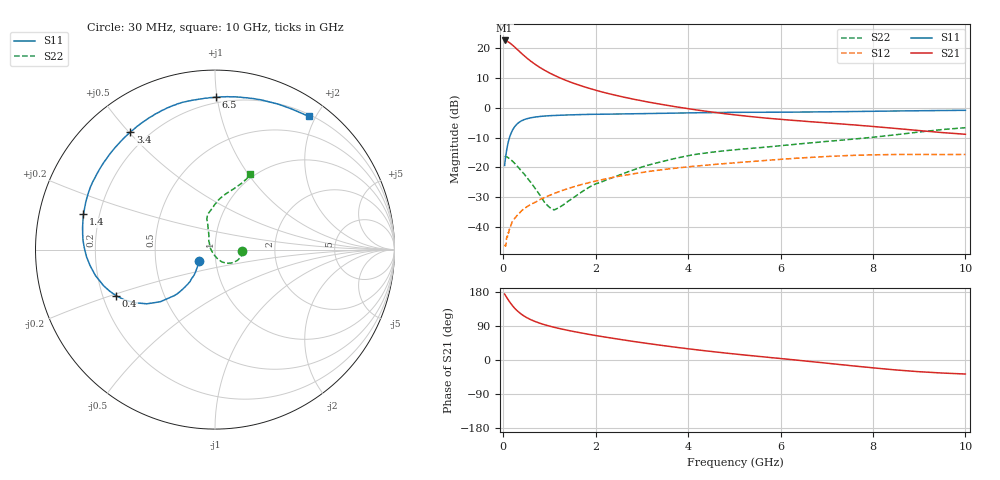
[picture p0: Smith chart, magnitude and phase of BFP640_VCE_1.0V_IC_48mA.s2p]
! Infineon Technologies  Discrete & RF Semiconductors
! BFP640
! VCE =  1.0 V,  IC =  48 mA
! Common Emitter S-Parameters:  Apr 2013
# GHz  S  MA  R  50
!  f  S11  S21  S12  S22
! GHz  MAG  ANG  MAG  ANG  MAG  ANG  MAG  ANG
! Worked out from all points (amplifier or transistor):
!   99 points, 30 MHz to 10 GHz, reference 50 ohm
!   highest |S21| = 22.6 dB at 30 MHz (marker M1)
!   |S21| within 3 dB of that: start of sweep to 302.4 MHz
!   unconditionally stable (mu >= 1): start of sweep to end of sweep
!   at 350 MHz: K = 2.21, MAG = 20.9 dB, |S12| = -35.3 dB
!   at 3.5 GHz: K = 1.79, MAG = 5.6 dB, |S12| = -20.6 dB
!   at 10 GHz: K = 1.62, MAG = -1.2 dB, |S12| = -15.6 dB
!   S11 on the Smith chart (normalised r, x): 30 MHz: 0.83, -0.11; 400 MHz: 0.26, -0.21; 1.4 GHz: 0.14, +0.13; 3.4 GHz: 0.13, +0.50; 6.5 GHz: 0.16, +0.99; 10 GHz: 0.23, +1.90
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0.03  0.1079 -143.3  13.43 174.1  0.0049 32.2  0.1515 -3.3
0.07  0.1863 -129.2  13.14 166.1  0.0064 52.2  0.1521 -12.0
0.11  0.268 -128.8  12.69 158.4  0.0079 48.5  0.1448 -19.5
0.15  0.3424 -131.5  12.08 151.4  0.0099 54.8  0.1378 -26.0
0.2  0.4215 -136.4  11.24 143.4  0.0126 51.7  0.1276 -33.8
0.25  0.4851 -141.5  10.38 136.3  0.0141 52.4  0.1166 -39.9
0.3  0.5353 -146.4  9.545 130.2  0.0157 53.5  0.1055 -46.0
0.4  0.6079 -155.0  8.1 120.2  0.0189 53.5  0.086 -56.1
0.5  0.6522 -162.0  6.926 112.4  0.0216 53.4  0.0695 -64.6
0.6  0.6814 -167.7  6.009 106.2  0.0242 54.5  0.0559 -73.1
0.7  0.7008 -172.5  5.287 101.1  0.0263 54.1  0.0435 -81.0
0.8  0.7166 -176.7  4.703 96.7  0.0292 55.0  0.0339 -92.4
1.1  0.7428 173.1  3.517 86.4  0.0366 55.6  0.0194 -151.7
1.4  0.7585 165.0  2.794 78.2  0.0442 54.9  0.027 161.8
1.7  0.7701 157.8  2.315 71.1  0.0519 53.4  0.039 138.0
2.4  0.7853 143.7  1.641 56.8  0.0688 48.6  0.0691 120.3
3.4  0.8073 125.8  1.149 39.0  0.0908 39.7  0.1235 108.1
5.1  0.8389 103.3  0.747 14.7  0.1212 24.8  0.2007 101.3
6.5  0.8497 89.7  0.597 -2.2  0.1453 12.4  0.2522 90.1
6.7  0.8518 87.6  0.581 -4.7  0.1481 10.5  0.2603 88.6
8.5  0.8837 66.5  0.45 -26.3  0.165 -7.8  0.3537 72.9
10  0.9073 54.9  0.36 -37.0  0.1651 -17.8  0.464 65.2
